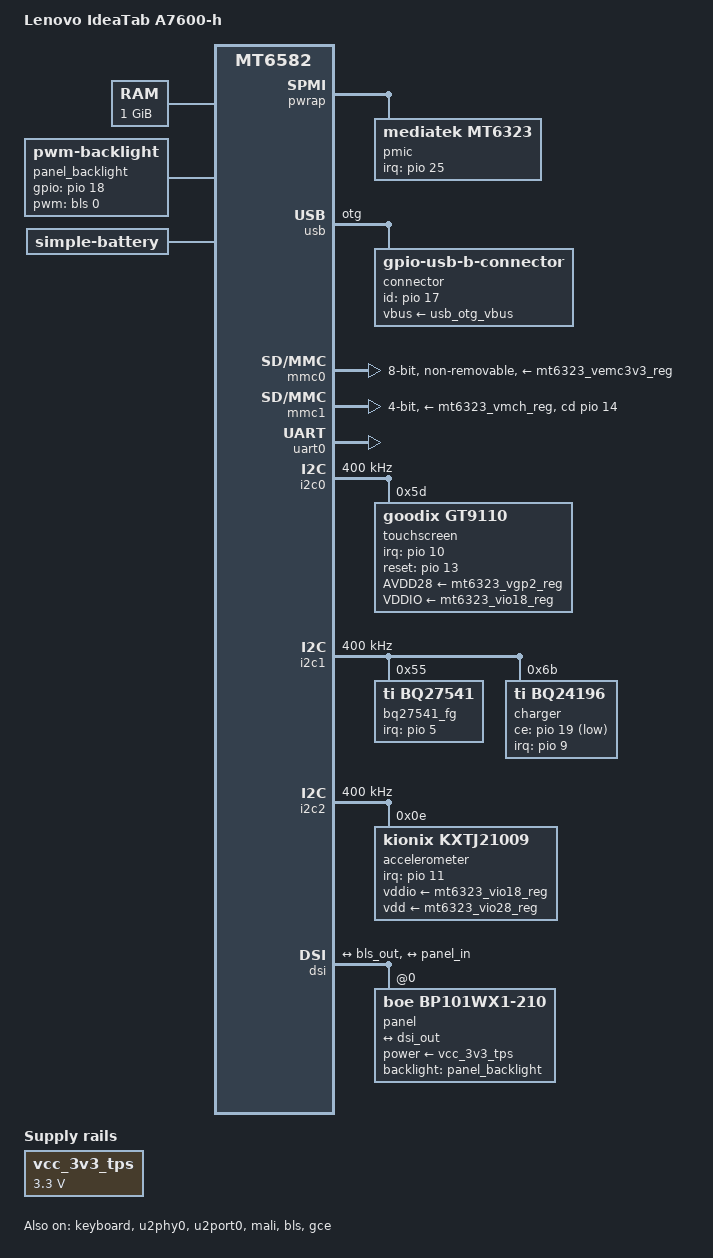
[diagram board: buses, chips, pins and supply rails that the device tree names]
// SPDX-License-Identifier: GPL-2.0-only
/*
 * Copyright (c) 2026
 * Author: Burst_Caster <swer15l23@gmail.com>
 */
 
/dts-v1/;
#include "mt6582.dtsi"
#include "mt6323.dtsi"
#include <dt-bindings/pinctrl/mt6582-pinfunc.h>
#include <dt-bindings/input/input.h>
#include <dt-bindings/power/mediatek,mt6582-power.h>
#include <dt-bindings/iio/adc/mediatek,mt6323-auxadc.h>



/ {
	model = "Lenovo IdeaTab A7600-h";
	compatible = "lenovo,a7600h", "mediatek,mt6582";

	aliases {
		serial0 = &uart0;
		mmc0 = &mmc0;
		mmc1 = &mmc1;

	};

	chosen {
		#address-cells = <1>;
		#size-cells = <1>;
		
		bootargs = "console=ttyS0,921600n8 console=tty0 clk_ignore_unused pd_ignore_unused regulator_ignore_unused loglevel=8  earlycon root=/dev/mmcblk1p1 rootwait rw "; 
		stdout-path = "serial0:921600n8";

		// framebuffer: framebuffer@be900000 {
		// 	compatible = "simple-framebuffer";
		// 	memory-region = <&framebuffer_reserved>;
		// 	width = <1280>;
		// 	height = <800>;
		// 	stride = <(1280 * 2)>;
		// 	format = "r5g6b5";
		// 	// status = "okay";
		// 	status = "disabled";
		// 	power-domains = <&spm MT6582_POWER_DOMAIN_DIS>;
		// };
	};

	cpus {
		cpu@0 {
			proc-supply = <&mt6323_vproc_reg>;
		};

		cpu@1 {
			proc-supply = <&mt6323_vproc_reg>;
		};

		cpu@2 {
			proc-supply = <&mt6323_vproc_reg>;
		};

		cpu@3 {
			proc-supply = <&mt6323_vproc_reg>;
		};
	};
	
	memory@80000000 {
		device_type = "memory";
		reg = <0x80000000 0x40000000>;
	};

	// reserved-memory {
	// 	#address-cells = <1>;
	// 	#size-cells = <1>;
	// 	ranges;

	// 	framebuffer_reserved: framebuffer@be900000 {
	// 		reg = <0xbe900000 0x00800000>;
	// 		no-map;
	// 	};
	// };

	gpu_opp_table: opp-table-gpu {

		opp-598000000 {
			opp-hz = /bits/ 64 <598000000>;
			opp-microvolt = <1250000>;
		};
	};

	panel_backlight: backlight {
        	compatible = "pwm-backlight";
        	pwms = <&bls 0 20000>; 
        	gpios = <&pio 18 GPIO_ACTIVE_HIGH>;
        	post-pwm-on-delay-ms = <10>;
        	pwm-off-delay-ms = <10>;
        	brightness-levels = <
              		4   8  12  16  20  24  28
             		32  40  48  56  64  72  80  88
             		96 112 128 144 160 176 192 208
            		224 240 255 >;
        	default-brightness-level = <16>; 
		pinctrl-names = "default";
    		pinctrl-0 = <&backlight_pins>;
   	};

	vcc_3v3_tps: regulator-tps62237 {
    		compatible = "regulator-fixed";
    		regulator-name = "vcc-3v3";
    		regulator-min-microvolt = <3300000>;
    		regulator-max-microvolt = <3300000>;
			
    		// gpios = <&pio 118 GPIO_ACTIVE_LOW>; 
		// startup_delay = <10000>;

	};

	battery: battery {
		compatible = "simple-battery";
		charge-full-design-microamp = <6340000>;
		voltage-min-microvolt = <3200000>;
		voltage-max-microvolt = <4200000>;
		constant-charge-current-microamp = <2000000>;
		constant-charge-voltage-microvolt = <4200000>;
		precharge-current-microamp = <200000>;
		charge-term-current-microamp = <100000>;
	};

};

&pwrap {
	pmic: mt6323 {
		compatible = "mediatek,mt6323";
		interrupt-parent = <&pio>;
		interrupts = <25 IRQ_TYPE_LEVEL_HIGH>;
		interrupt-controller;
		#interrupt-cells = <2>;
		pinctrl-names = "default";
        	pinctrl-0 = <&pmic_int_pins>;

		mt6323_leds: leds {
			status = "disabled";
		};	
		
		mt6323regulator: mt6323regulator {
			mt6323_vusb_reg: ldo_vusb {
				regulator-always-on;
			};
		}; 
	};

};

&pio {
	status = "okay";
};

&keyboard {
	status = "okay";
	linux,keymap = <MATRIX_KEY(0, 0, KEY_VOLUMEUP)
			MATRIX_KEY(0, 1, KEY_VOLUMEDOWN)>;
	keypad,num-rows = <1>;
	keypad,num-columns = <2>;
	debounce-delay-ms = <32>;
};

&usb {
	status = "okay";
	
	dr_mode = "otg";
	usb-role-switch-default-mode = "peripheral";
	usb-role-switch;
	connector {
			compatible = "gpio-usb-b-connector", "usb-b-connector";
			type = "micro";
			pinctrl-0 = <&usb0_id_pin>;
			pinctrl-names = "default";
			id-gpios = <&pio 17 GPIO_ACTIVE_HIGH>;
			vbus-supply = <&usb_otg_vbus>;

	};
};

&u2phy0 {
	status = "okay";
	phy-supply = <&mt6323_vusb_reg>;
};

&u2port0 {
	status = "okay";
};

&mmc0 {
	pinctrl-names = "default", "state_uhs";
	pinctrl-0 = <&msdc0_pins_default>;
	pinctrl-1 = <&msdc0_pins_uhs>;
	status = "okay";
	bus-width = <8>;
	max-frequency = <200000000>;
	cap-mmc-highspeed;
	vmmc-supply = <&mt6323_vemc3v3_reg>;
	vqmmc-supply = <&mt6323_vio18_reg>;
	non-removable;
	mmc-ddr-1_8v;
	mmc-hs200-1_8v;
	no-sd;
	no-sdio;
	mediatek,latch-ck = <0>;
};

&mmc1 {
	pinctrl-names = "default", "state_uhs";
	pinctrl-0 = <&msdc1_pins_default>;
	pinctrl-1 = <&msdc1_pins_uhs>;
	status = "okay";
	bus-width = <4>;
	// max-frequency = <100000000>;
	max-frequency = <50000000>;
	cap-sd-highspeed;
	cd-gpios = <&pio 14 GPIO_ACTIVE_HIGH>;
	vmmc-supply = <&mt6323_vmch_reg>;
	vqmmc-supply = <&mt6323_vmc_reg>;
	sd-uhs-sdr12;
	sd-uhs-sdr25;
	// sd-uhs-sdr50;
	// sd-uhs-sdr104;
	// sd-uhs-ddr50;
	cap-sd-highspeed;
	no-mmc;
	no-sdio;
	no-write-protect;
	mediatek,latch-ck = <0>;

};

&uart0 {
	status = "okay";
};

&i2c0 {
	status = "okay";
	pinctrl-names = "default";
	pinctrl-0 = <&i2c0_pins>;
	clock-frequency = <400000>;

	touchscreen@5d {
		compatible = "goodix,gt9110";
		reg = <0x5d>;
		interrupt-parent = <&pio>;
		interrupts = <10 IRQ_TYPE_EDGE_FALLING>;
		irq-flags = <2>;
		irq-gpios = <&pio 10 GPIO_ACTIVE_HIGH>;
        	reset-gpios = <&pio 13 GPIO_ACTIVE_HIGH>;
		AVDD28-supply = <&mt6323_vgp2_reg>;
		VDDIO-supply = <&mt6323_vio18_reg>;
		pinctrl-names = "default";
    		pinctrl-0 = <&touch_pins_default>; 
		touchscreen-size-x = <1280>;
    		touchscreen-size-y = <800>;

      	};

};

&i2c1 {
	status = "okay";
	pinctrl-names = "default";
	pinctrl-0 = <&i2c1_pins>;
	clock-frequency = <400000>;

	bq27541_fg: fuel-gauge@55 {
		compatible = "ti,bq27541";
		reg = <0x55>;
		interrupt-parent = <&pio>;
		interrupts = <5 IRQ_TYPE_EDGE_FALLING>;
		monitored-battery = <&battery>;
      	};

	charger: bq24196@6b {
		compatible = "ti,bq24196";
		reg = <0x6b>;
		pinctrl-names = "default";
		pinctrl-0 = <&bq24196_pins>;

		interrupt-parent = <&pio>;
		interrupts = <9 IRQ_TYPE_EDGE_FALLING>;

		ce-gpios = <&pio 19 GPIO_ACTIVE_LOW>;
		omit-battery-class;
		ti,system-minimum-microvolt = <3200000>;
		monitored-battery = <&battery>;
		usb_otg_vbus: usb-otg-vbus {};
	};
};

&i2c2 {
	status = "okay";
	pinctrl-names = "default";
	pinctrl-0 = <&i2c2_pins>;
	clock-frequency = <400000>;
	
	accelerometer@e {
		compatible = "kionix,kxtj21009";
		reg = <0x0e>;
		vddio-supply = <&mt6323_vio18_reg>;
            	vdd-supply = <&mt6323_vio28_reg>;
		interrupt-parent = <&pio>;
		interrupts = <11 IRQ_TYPE_EDGE_RISING>;

		mount-matrix = "0", "1", "0",
			"1", "0", "0",
			"0", "0", "-1";
	};
};

&pio {
	status = "okay";
	pwrap_pins_default: pwrap-default {
		pins_ {
			pinmux = <MT6582_PIN_21_PWRAP_SPI0_MI__FUNC_PWRAP_SPIDO>,
			<MT6582_PIN_22_PWRAP_SPI0_MO__FUNC_PWRAP_SPIDI>,
			<MT6582_PIN_23_PWRAP_SPI0_CK__FUNC_PWRAP_SPICK_I>,
			<MT6582_PIN_24_PWRAP_SPI0_CSN__FUNC_PWRAP_SPICS_B_I>;
			input-enable;
			bias-disable;
		};
        
    	};

	pmic_int_pins: pmic-int {
		pins {
			pinmux = <MT6582_PIN_25_PWRAP_INT__FUNC_GPIO25>;
			input-enable;
			bias-pull-down; 
			debounce-interval = <1000>; 
		};
    	};

	msdc1_pins_default: msdc1-default {
		pins-cmd-dat{
		 	pinmux = <MT6582_PIN_124_MSDC1_CMD__FUNC_MSDC1_CMD>,
		 	 	 <MT6582_PIN_126_MSDC1_DAT0__FUNC_MSDC1_DAT0>,
			 	 <MT6582_PIN_127_MSDC1_DAT1__FUNC_MSDC1_DAT1>,
		 	 	 <MT6582_PIN_128_MSDC1_DAT2__FUNC_MSDC1_DAT2>,
		 	 	 <MT6582_PIN_129_MSDC1_DAT3__FUNC_MSDC1_DAT3>;
		 	input-enable;
		 	bias-pull-up;

		};
		pins-clk {
		 	pinmux = <MT6582_PIN_125_MSDC1_CLK__FUNC_MSDC1_CLK>;
			bias-pull-down;
		 	drive-strength = <4>;
		};
		sd-detect {
			pinmux = <MT6582_PIN_14_EINT14__FUNC_GPIO14>;
			input-enable;
			bias-pull-up;
		};
	};

	msdc1_pins_uhs: msdc1 {
		pins-cmd-dat{
		 	pinmux = <MT6582_PIN_124_MSDC1_CMD__FUNC_MSDC1_CMD>,
		 	 	 <MT6582_PIN_126_MSDC1_DAT0__FUNC_MSDC1_DAT0>,
		 	 	 <MT6582_PIN_127_MSDC1_DAT1__FUNC_MSDC1_DAT1>,
		 	 	 <MT6582_PIN_128_MSDC1_DAT2__FUNC_MSDC1_DAT2>,
		 		 <MT6582_PIN_129_MSDC1_DAT3__FUNC_MSDC1_DAT3>;
		 	input-enable;
		 	bias-pull-up;
		 	drive-strength = <8>;
		};
		pins-clk {
		 	pinmux = <MT6582_PIN_125_MSDC1_CLK__FUNC_MSDC1_CLK>;
		 	bias-pull-down;
		 	drive-strength = <12>;
		};
		sd-detect {
			pinmux = <MT6582_PIN_14_EINT14__FUNC_GPIO14>;
			input-enable;
			bias-pull-up;
		};
	};

	touch_pins_default: touch-pins {
		pins-irq {
			pinmux = <MT6582_PIN_10_EINT10__FUNC_GPIO10>;
			input-enable;
			bias-pull-up;
        	};
		pins-reset {
			pinmux = <MT6582_PIN_13_GPIO13__FUNC_GPIO13>;
			output-high;
		};
    	};

	bq24196_pins: bq24196-pins {
		pins_int {
			pinmux = <MT6582_PIN_9_EINT9__FUNC_GPIO9>;
			input-enable;
			bias-pull-up;
			debounce-interval = <1000>;
		};
		pins_ce {
			pinmux = <MT6582_PIN_19_EINT19__FUNC_GPIO19>;
			output-low;
		};
	};

	usb0_id_pin: usb0 {
		pins-usb-id{
			pinmux = <MT6582_PIN_17_EINT17__FUNC_IDDIG>;
			bias-pull-up;
			input-enable;
			debounce-interval = <1000>;
		};
	};

	backlight_pins: backlight-pins {
		pins_bl_pwm {
			pinmux = <MT6582_PIN_90_DISP_PWM__FUNC_DISP_PWM>;
			drive-strength = <MTK_DRIVE_8mA>;
		};
	
    	};
};

&mali {
	status = "okay";
};

&mmsys {
	// status = "disabled";
	port {
		#address-cells = <1>;
		#size-cells = <0>;
			mmsys_out: endpoint@0 {
				reg = <0>;
				remote-endpoint = <&ovl_in>;
				// remote-endpoint = <&rdma0_in>;
			};
	};
};

&ovl0 {
	// status = "disabled";
	ports {
		#address-cells = <1>;
		#size-cells = <0>;
		port@0 {
			reg = <0>;
			ovl_in: endpoint@0 {
				remote-endpoint = <&mmsys_out>;
			};
		};

		port@1 {
			reg = <1>;
			ovl_out: endpoint@1 {
				remote-endpoint = <&rdma0_in>;
			};
		};
	};
};

&rdma0 {
	ports {
		#address-cells = <1>;
		#size-cells = <0>;
		port@0 {
			reg = <0>;
			rdma0_in: endpoint@0 {
				remote-endpoint = <&ovl_out>;
				// remote-endpoint = <&mmsys_out>;
			};
		};

		port@1 {
			reg = <1>;
			rdma0_out: endpoint@1 {
				remote-endpoint = <&color_in>;
			};
		};
	};
};

&color {
	ports {
		#address-cells = <1>;
		#size-cells = <0>;
		port@0 {
			reg = <0>;
			color_in: endpoint@0 {
				remote-endpoint = <&rdma0_out>;
			};
		};

		port@1 {
			reg = <1>;
			color_out: endpoint@1 {
				remote-endpoint = <&bls_in>;
			};
		};
	};
};

&bls {
	ports {
		#address-cells = <1>;
		#size-cells = <0>;
		port@0 {
			reg = <0>;
			bls_in: endpoint@0 {
				remote-endpoint = <&color_out>;
			};
		};

		port@1 {
			reg = <1>;
			bls_out: endpoint@1 {
				remote-endpoint = <&dsi_in>;
			};
		};
	};
};

&dsi {
	status = "okay";
	#address-cells = <1>;
	#size-cells = <0>;

	ports {
		#address-cells = <1>;
		#size-cells = <0>;
		port@0 {
			reg = <0>;
			dsi_in: endpoint@0 {
				remote-endpoint = <&bls_out>;
			};
		};

		port@1 {
			reg = <1>;
			dsi_out: endpoint@1 {
				remote-endpoint = <&panel_in>;
			};
		};
	};

	panel@0 {
		compatible = "boe,bp101wx1-210";
		reg = <0>;
		
		power-supply = <&vcc_3v3_tps>; 
		panel-orientation = "normal"; 
		backlight = <&panel_backlight>;
		ports {
			#address-cells = <1>;
			#size-cells = <0>;
			port@0{
				reg = <0>;
				panel_in: endpoint {
					remote-endpoint = <&dsi_out>;
				};
			};
		};
	};
};

// &dsi_out {
// 	remote-endpoint = <&panel_in>;
// };

&bls {
	status = "okay";
};

&gce {
	status = "okay";
};
